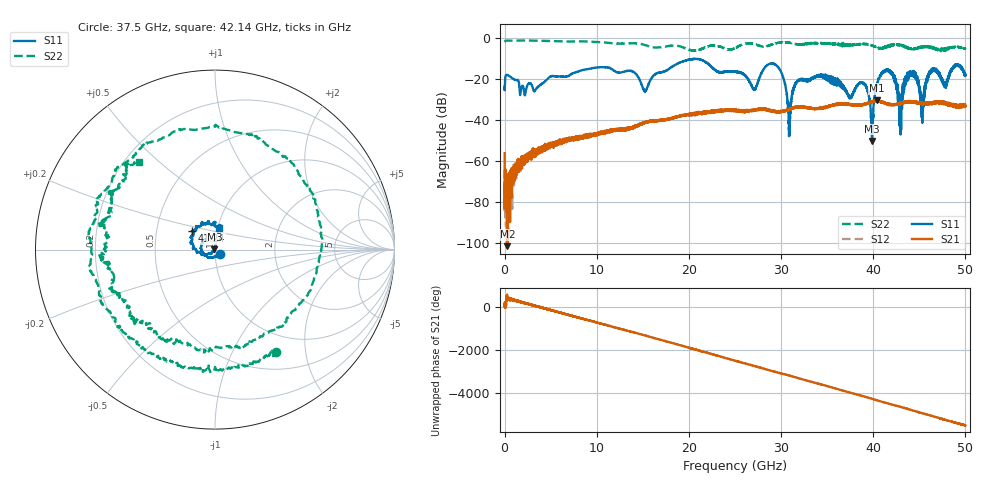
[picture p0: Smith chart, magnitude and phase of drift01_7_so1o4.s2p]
!Created with skrf (http://scikit-rf.org).
# Hz S RI R 50.0
!freq ReS11 ImS11 ReS21 ImS21 ReS12 ImS12 ReS22 ImS22
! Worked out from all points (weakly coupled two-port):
!   10001 points, 300 kHz to 50 GHz, reference 50 ohm
!   highest |S21| = -30.55 dB at 40.38 GHz (marker M1); lowest = -101.4 dB at 295.3 MHz (marker M2)
!   lowest |S11| = -50.2 dB at 39.87 GHz (marker M3), VSWR 1.01, Z = 49.7 + j0.0563 ohm
!   |S11| at or under -10 dB: start of sweep to end of sweep
!   |S22| runs from -6.6 to -1.4 dB; largest |S21 - S12| = 0.004
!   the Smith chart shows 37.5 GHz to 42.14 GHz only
!   S11 on the Smith chart (normalised r, x): 37.5 GHz: 1.06, -0.05; 41.24 GHz: 0.76, +0.16; 42.14 GHz: 1.02, +0.25
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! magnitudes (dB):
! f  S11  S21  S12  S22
! 300 kHz  -23.8  -56.2  -64.4  -2.1
! 295.3 MHz  -18.1  -101.4  -83.4  -1.4
! 2.44 GHz  -23.5  -56.6  -56.4  -1.4
! 8.335 GHz  -15.9  -47.9  -48.6  -1.8
! 16.67 GHz  -17.0  -40.4  -40.5  -4.8
! 25 GHz  -16.7  -35.5  -35.3  -5.1
! 27.11 GHz  -25.2  -35.3  -35.0  -3.1
! 29.42 GHz  -13.2  -36.0  -36.0  -2.7
! 30.91 GHz  -44.0  -34.8  -35.0  -2.5
! 33.34 GHz  -19.9  -34.5  -34.5  -2.6
! 37.5 GHz  -28.7  -32.5  -32.6  -3.6
! 38.95 GHz  -22.0  -32.6  -32.5  -3.1
! 39.87 GHz  -50.2  -31.1  -31.2  -3.8
! 40.38 GHz  -23.0  -30.5  -30.9  -4.8
! 41.24 GHz  -15.7  -31.7  -31.8  -4.4
! 41.67 GHz  -16.3  -32.3  -32.4  -4.2
! 42.14 GHz  -18.3  -32.6  -32.5  -3.8
! 42.91 GHz  -29.1  -32.0  -32.2  -3.5
! 43.96 GHz  -17.6  -31.5  -31.3  -5.1
! 45.31 GHz  -33.2  -31.9  -32.2  -4.5
! 46.44 GHz  -16.4  -31.9  -31.6  -4.6
! 50 GHz  -18.0  -33.2  -33.1  -5.4
